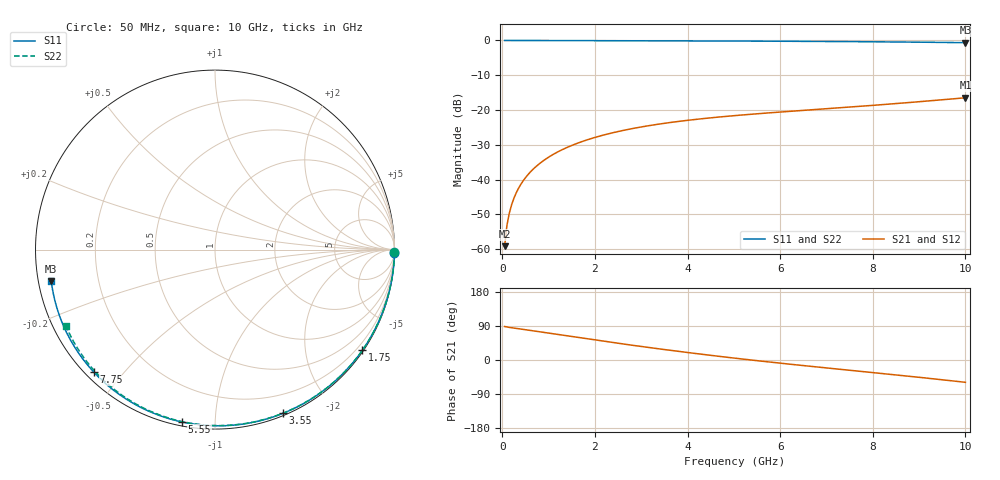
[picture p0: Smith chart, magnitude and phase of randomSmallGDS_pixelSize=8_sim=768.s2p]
! freq	dB(S11)	phase(S11)	dB(S12)	phase(S12)
!  dB(S21)	phase(S21)	dB(S22)	phase(S22)
!S-par simulation data
#  GHz  S  DB  R 50
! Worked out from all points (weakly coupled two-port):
!   200 points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, 50 MHz to 10 GHz, reference 50 ohm
!   highest |S21| = -16.48 dB at 10 GHz (marker M1); lowest = -59.2 dB at 50 MHz (marker M2)
!   lowest |S11| = -0.6 dB at 10 GHz (marker M3), VSWR 27.20, Z = 1.85 - j4.75 ohm
!   |S11| at or under -10 dB: nowhere
!   |S22| runs from -0.6 to 0.0 dB; largest |S21 - S12| = 0
!   S11 on the Smith chart (normalised r, x): 50 MHz: open; 1.75 GHz: 0.03, -3.24; 3.55 GHz: 0.02, -1.50; 5.55 GHz: 0.02, -0.83; 7.75 GHz: 0.02, -0.42; 10 GHz: 0.04, -0.10
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0.05  -0.00 -1.0  -59.17 88.4  -59.17 88.4  -0.00 -0.9
0.1  -0.00 -2.0  -53.22 87.1  -53.22 87.1  -0.00 -1.8
0.15  -0.00 -3.0  -49.76 86.0  -49.76 86.0  -0.00 -2.7
0.2  -0.00 -4.0  -47.31 85.1  -47.31 85.1  -0.00 -3.6
0.25  -0.00 -5.0  -45.41 84.3  -45.41 84.3  -0.00 -4.5
0.35  -0.01 -7.0  -42.53 82.6  -42.53 82.6  -0.00 -6.3
0.5  -0.01 -10.0  -39.48 79.9  -39.48 79.9  -0.01 -9.0
0.7  -0.02 -13.9  -36.60 76.3  -36.60 76.3  -0.01 -12.5
1  -0.03 -19.8  -33.57 70.9  -33.57 70.9  -0.02 -17.8
1.35  -0.04 -26.6  -31.06 64.5  -31.06 64.5  -0.03 -24.0
1.75  -0.05 -34.3  -28.95 57.3  -28.95 57.3  -0.04 -30.9
2.6  -0.07 -50.3  -25.90 42.4  -25.90 42.4  -0.07 -45.3
3.4  -0.10 -64.8  -24.02 29.2  -24.02 29.2  -0.09 -58.5
3.55  -0.11 -67.4  -23.74 26.8  -23.74 26.8  -0.10 -60.9
4.3  -0.13 -80.4  -22.53 15.2  -22.53 15.2  -0.12 -72.7
5.05  -0.17 -92.8  -21.58 4.4  -21.58 4.4  -0.16 -84.1
5.55  -0.19 -100.9  -21.04 -2.4  -21.04 -2.4  -0.18 -91.5
6.7  -0.27 -118.8  -19.92 -17.2  -19.92 -17.2  -0.25 -107.9
7.75  -0.35 -134.7  -18.92 -30.1  -18.92 -30.1  -0.33 -122.4
8.35  -0.42 -143.7  -18.31 -37.5  -18.31 -37.5  -0.39 -130.5
9.2  -0.52 -156.6  -17.40 -48.2  -17.40 -48.2  -0.49 -142.0
10  -0.64 -169.1  -16.48 -58.9  -16.48 -58.9  -0.60 -153.0
